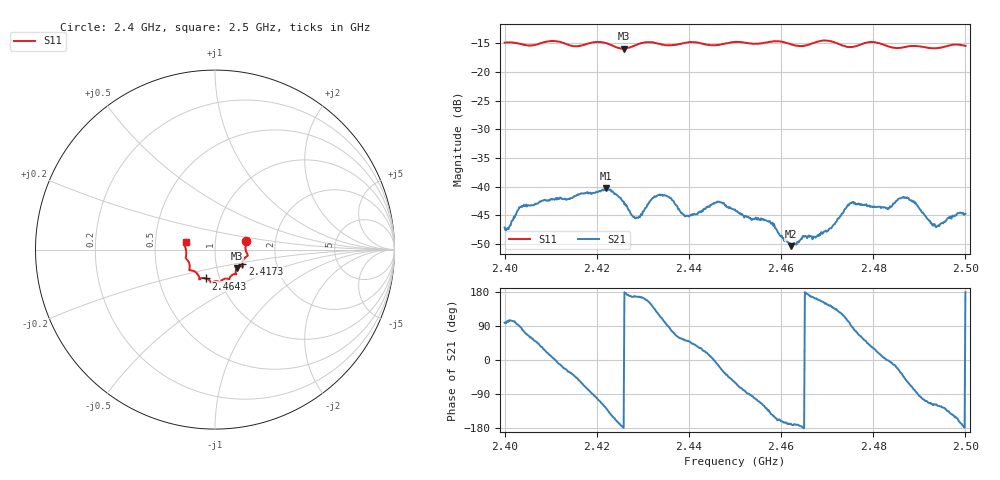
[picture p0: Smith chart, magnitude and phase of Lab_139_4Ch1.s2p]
# Hz S RI R 50
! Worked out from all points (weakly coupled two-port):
!   601 points, 2.4 GHz to 2.5 GHz, reference 50 ohm
!   highest |S21| = -40.30 dB at 2.422 GHz (marker M1); lowest = -50.4 dB at 2.4622 GHz (marker M2)
!   lowest |S11| = -15.9 dB at 2.4258 GHz (marker M3), VSWR 1.38, Z = 62.3 - j13.3 ohm
!   |S11| at or under -10 dB: start of sweep to end of sweep
!   S12 and S22 are empty: the file has one direction only
!   S11 on the Smith chart (normalised r, x): 2.4 GHz: 1.41, +0.15; 2.4173 GHz: 1.34, -0.23; 2.4643 GHz: 0.86, -0.28; 2.5 GHz: 0.72, +0.06
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2.4e9  0.1737 0.0498  -0.000635 0.00436  0 0  0 0
2.403667e9  0.1723 0.0287  0.000656 0.00673  0 0  0 0
2.416667e9  0.1531 -0.0741  0.00429 -0.00764  0 0  0 0
2.417333e9  0.1527 -0.0817  0.00323 -0.00815  0 0  0 0
2.422e9  0.1516 -0.0947  -0.00581 -0.00772  0 0  0 0
2.425833e9  0.1215 -0.1038  -0.00742 -0.000116  0 0  0 0
2.428833e9  0.1157 -0.1302  -0.00523 0.00122  0 0  0 0
2.433333e9  0.1128 -0.1365  -0.00442 0.0072  0 0  0 0
2.435667e9  0.0968 -0.141  0.000375 0.00812  0 0  0 0
2.4395e9  0.0807 -0.1617  0.00349 0.00432  0 0  0 0
2.446167e9  0.0459 -0.1658  0.00728 -0.00143  0 0  0 0
2.45e9  0.0295 -0.1806  0.00317 -0.00547  0 0  0 0
2.457667e9  -0.017 -0.1828  -0.00375 -0.00319  0 0  0 0
2.462167e9  -0.0304 -0.1716  -0.00296 -0.000617  0 0  0 0
2.464333e9  -0.0503 -0.1606  -0.00349 -0.000319  0 0  0 0
2.466667e9  -0.0764 -0.1598  -0.00357 0.000864  0 0  0 0
2.4705e9  -0.0873 -0.1652  -0.00343 0.00258  0 0  0 0
2.475167e9  -0.1082 -0.1248  -8.87e-05 0.00724  0 0  0 0
2.483333e9  -0.141 -0.0897  0.00651 -0.000188  0 0  0 0
2.487333e9  -0.1576 -0.0542  0.00446 -0.00672  0 0  0 0
2.493833e9  -0.1615 -0.00344  -0.00218 -0.00396  0 0  0 0
2.5e9  -0.1636 0.0421  -0.0058 0.000118  0 0  0 0
